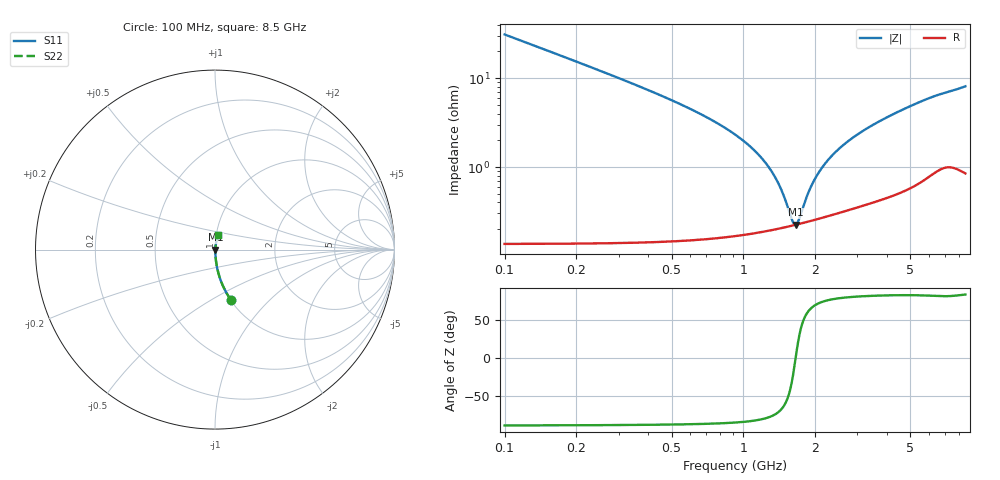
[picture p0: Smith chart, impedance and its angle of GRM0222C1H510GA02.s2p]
!Murata Part Number: GRM0222C1H510GA02
!These Parameters are Measured in Series Mode Connection
!Data Generated on Mar 30, 2021
!  o--ll--o
!Port1  Port2
!  o------o
!Operation Temp=25[degC], DC Bias Voltage=0[V]
!Freq. Start=100[MHz] Stop=9[GHz] 401[Steps]
# Hz S RI R 50
!Freq.(Hz) S11(Real) S11(Imag) S21(Real) S21(Imag) S12(Real) S12(Imag) S22(Real) S22(Imag)
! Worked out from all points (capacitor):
!   401 points, 100 MHz to 8.5 GHz, reference 50 ohm
!   read as one part in series: C = 51 pF near 142 MHz
!   lowest |Z| = 224 mohm at 1.654 GHz (marker M1)
!   series resonance near 1.655 GHz, so ESL is about 180 pH
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1e8  0.0892 -0.2828  0.9108 0.2828  0.9108 0.2828  0.0892 -0.2828
2.26e8  0.0193 -0.1327  0.9807 0.1327  0.9807 0.1327  0.0193 -0.1327
3.73e8  0.00764 -0.0786  0.9924 0.0786  0.9924 0.0786  0.00764 -0.0786
5.62e8  0.00386 -0.0488  0.9961 0.0488  0.9961 0.0488  0.00386 -0.0488
1.003e9  0.0021 -0.0195  0.9979 0.0195  0.9979 0.0195  0.0021 -0.0195
1.192e9  0.00201 -0.0124  0.998 0.0124  0.998 0.0124  0.00201 -0.0124
1.36e9  0.00204 -0.00733  0.998 0.00733  0.998 0.00733  0.00204 -0.00733
1.507e9  0.00212 -0.00347  0.9979 0.00347  0.9979 0.00347  0.00212 -0.00347
1.591e9  0.00218 -0.00145  0.9978 0.00145  0.9978 0.00145  0.00218 -0.00145
1.633e9  0.00221 -0.000484  0.9978 0.000484  0.9978 0.000484  0.00221 -0.000484
1.654e9  0.00223 -1.14e-05  0.9978 1.14e-05  0.9978 1.14e-05  0.00223 -1.14e-05
1.696e9  0.00227 0.000915  0.9977 -0.000915  0.9977 -0.000915  0.00227 0.000915
1.843e9  0.00242 0.00398  0.9976 -0.00398  0.9976 -0.00398  0.00242 0.00398
1.927e9  0.00251 0.00563  0.9975 -0.00563  0.9975 -0.00563  0.00251 0.00563
2.137e9  0.00277 0.00949  0.9972 -0.00949  0.9972 -0.00949  0.00277 0.00949
2.473e9  0.00322 0.0151  0.9968 -0.0151  0.9968 -0.0151  0.00322 0.0151
2.914e9  0.00388 0.0216  0.9961 -0.0216  0.9961 -0.0216  0.00388 0.0216
3.523e9  0.00489 0.0298  0.9951 -0.0298  0.9951 -0.0298  0.00489 0.0298
4.3e9  0.00637 0.0394  0.9936 -0.0394  0.9936 -0.0394  0.00637 0.0394
5.707e9  0.0101 0.0552  0.9899 -0.0552  0.9899 -0.0552  0.0101 0.0552
7.114e9  0.0144 0.0673  0.9856 -0.0673  0.9856 -0.0673  0.0144 0.0673
8.5e9  0.0147 0.0789  0.9853 -0.0789  0.9853 -0.0789  0.0147 0.0789
